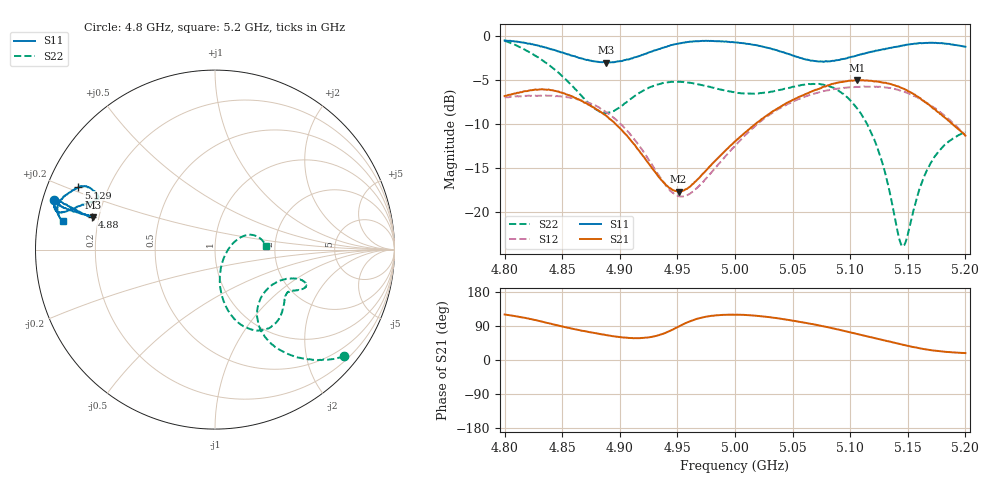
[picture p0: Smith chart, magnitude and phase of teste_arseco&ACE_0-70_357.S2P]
! Network Analyzer HP8722D
! Hewlett-Packard
! Data name: Linha & Wilkinson
! Saver's name: Rodrigo Anjos
! Comments: Teste da utilização de aquisição
! continua pelo VNA HP8722D
! Time and date: 8/5/2025 15:44
!  Frequency  S11  S21  S12  S22
# HZ  S  MA R 50
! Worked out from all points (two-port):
!   401 points, 4.8 GHz to 5.2 GHz, reference 50 ohm
!   highest |S21| = -5.06 dB at 5.106 GHz (marker M1); lowest = -17.7 dB at 4.951 GHz (marker M2)
!   |S21| within 3 dB of the highest: start of sweep to 4.876 GHz; 5.04 GHz to 5.17 GHz (130.8 MHz wide, 2.56 % of centre)
!   lowest |S11| = -3.1 dB at 4.888 GHz (marker M3), VSWR 5.74, Z = 8.85 + j6.3 ohm
!   |S11| at or under -10 dB: nowhere
!   |S22| runs from -23.9 to -0.6 dB; largest |S21 - S12| = 0.73
!   S11 on the Smith chart (normalised r, x): 4.8 GHz: 0.03, +0.15; 4.88 GHz: 0.17, +0.13; 5.129 GHz: 0.09, +0.21; 5.2 GHz: 0.07, +0.09
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4.8e9  0.9378 162.9  0.4542 120.1  0.4469 15.5  0.9335 -39.6
4.831e9  0.8671 164.6  0.4948 102.4  0.4563 5.7  0.737 -53.6
4.867e9  0.7401 164.8  0.4258 77.3  0.4288 -9.9  0.4539 -58.5
4.88e9  0.7101 165.0  0.3802 70.3  0.3976 -17.6  0.3786 -49.0
4.888e9  0.7033 165.2  0.3521 65.8  0.3681 -22.2  0.3636 -39.6
4.907e9  0.7318 165.3  0.2665 58.5  0.2854 -31.7  0.4251 -22.8
4.934e9  0.8386 163.7  0.1573 65.6  0.1611 -29.4  0.53 -19.9
4.951e9  0.9003 162.9  0.1306 88.1  0.1228 -6.4  0.5474 -22.1
4.965e9  0.9278 162.8  0.1478 106.7  0.1328 15.7  0.5332 -24.4
5e9  0.9151 166.1  0.2508 119.5  0.2376 37.5  0.4754 -29.4
5.034e9  0.8337 164.3  0.3755 111.2  0.3703 32.1  0.4839 -37.0
5.067e9  0.7207 157.6  0.483 95.0  0.4655 17.2  0.5313 -51.8
5.087e9  0.7222 155.1  0.5356 82.1  0.4978 5.9  0.4983 -64.1
5.106e9  0.7718 153.8  0.5583 68.6  0.5109 -5.7  0.3861 -75.4
5.119e9  0.8104 154.3  0.5529 59.4  0.5123 -13.8  0.2749 -81.0
5.129e9  0.8365 155.6  0.5406 52.2  0.5073 -20.5  0.1796 -81.5
5.134e9  0.8496 156.4  0.5331 48.6  0.5049 -23.9  0.1322 -77.4
5.142e9  0.867 158.3  0.5143 43.1  0.4915 -29.2  0.07293 -51.8
5.146e9  0.8796 159.5  0.5012 40.1  0.4808 -31.8  0.06403 -23.7
5.169e9  0.9101 164.5  0.4023 26.5  0.4057 -44.7  0.1844 25.1
5.183e9  0.8994 166.9  0.3392 21.5  0.3473 -50.6  0.2429 18.1
5.2e9  0.8636 169.2  0.2705 18.2  0.2716 -54.1  0.2831 4.3
